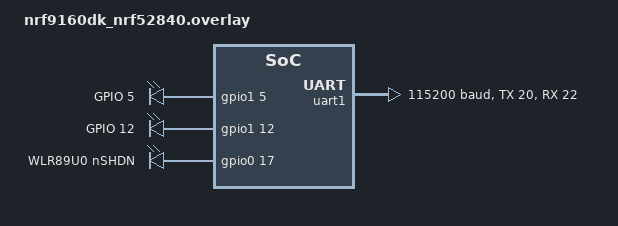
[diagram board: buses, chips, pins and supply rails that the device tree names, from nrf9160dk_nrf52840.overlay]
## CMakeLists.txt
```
# SPDX-License-Identifier: Apache-2.0

cmake_minimum_required(VERSION 3.13.1)

find_package(Zephyr REQUIRED HINTS $ENV{ZEPHYR_BASE})
project(hello_world)

#add local sources
FILE(GLOB app_sources src/*.c)
target_sources(app PRIVATE ${app_sources})
target_include_directories(app PRIVATE src)

add_subdirectory(src/drivers)
add_subdirectory(src/devices)
add_subdirectory(src/buffers)
add_subdirectory(src/tasks)

target_sources(app PRIVATE src/main.c)
```

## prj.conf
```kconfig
#Config log
CONFIG_LOG=y
CONFIG_UART_INTERRUPT_DRIVEN=y
CONFIG_LOG_STRDUP_MAX_STRING=512
```

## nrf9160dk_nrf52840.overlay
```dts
/ {
	my_gipo {
		compatible = "gpio-leds";
		gpio14: gpio_14 {
			gpios = <&gpio1 5 GPIO_ACTIVE_HIGH>;
			label = "GPIO 5";
		};
		gpiovcom2: gpio_vcom2 {
			gpios = <&gpio1 12 GPIO_ACTIVE_HIGH>;
			label = "GPIO 12";
		};
	};

	wlr089u0_gpio {
		compatible = "gpio-leds";
		wlr089u0nen: wlr089u0_nen {
				gpios = <&gpio0 17 0>;
				label = "WLR89U0 nSHDN";
			};
	};

	aliases {
		gpio14 = &gpio14;
		uart1 = &uart1;
		gpiovcom2 = &gpiovcom2;
		wlr089u0nen = &wlr089u0nen;
	};
};

&uart1 {
	status = "okay";
	current-speed = <115200>;
	tx-pin = <20>;
	rx-pin = <22>;
	/delete-property/ rts-pin;
    /delete-property/ cts-pin;
};

&vcom0_pins_routing {
	status = "disabled";
};

&vcom2_pins_routing {
	status = "disabled";
};


&led1_pin_routing {
	status = "disabled";
};
&led2_pin_routing {
	status = "disabled";
};
&led3_pin_routing {
	status = "disabled";
};
&led4_pin_routing {
	status = "disabled";
};

&switch1_pin_routing {
	status = "disabled";
};

&switch2_pin_routing {
	status = "disabled";
};

&button1_pin_routing {
	status = "disabled";
};

&button2_pin_routing {
	status = "disabled";
};



&nrf_interface_pins_0_2_routing {
	status = "disabled";
};
&nrf_interface_pins_3_5_routing {
	status = "okay";
};

&nrf_interface_pins_6_8_routing {
	status = "disabled";
};
```

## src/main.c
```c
/*
 * Copyright (c) 2012-2014 Wind River Systems, Inc.
 *
 * SPDX-License-Identifier: Apache-2.0
 */

#include <zephyr.h>
#include <sys/printk.h>
#include <device.h>
#include <drivers/gpio.h>
#include <logging/log.h>
LOG_MODULE_REGISTER(main, LOG_LEVEL_INF);

#include "tasks/uart_fw_task.h"
#include "buffers/fifo_gen.h"

/* size of stack area used by each thread */
#define TASK_DEFAULT_STACKSIZE 1024

/* scheduling priority used by each thread */
#define TASK_DEFAULT_PRIORITY 7


void main(void)
{
	printk("Hello World! %s\n", CONFIG_BOARD);
	LOG_INF("Test");
	int ret = 0;
	while(1)
	{
		k_sleep(K_FOREVER);
	}		
}

K_THREAD_DEFINE(uart_fw_task_id, TASK_DEFAULT_STACKSIZE, uart_fw_task, NULL, NULL, NULL, TASK_DEFAULT_PRIORITY, 0, 0);
```
